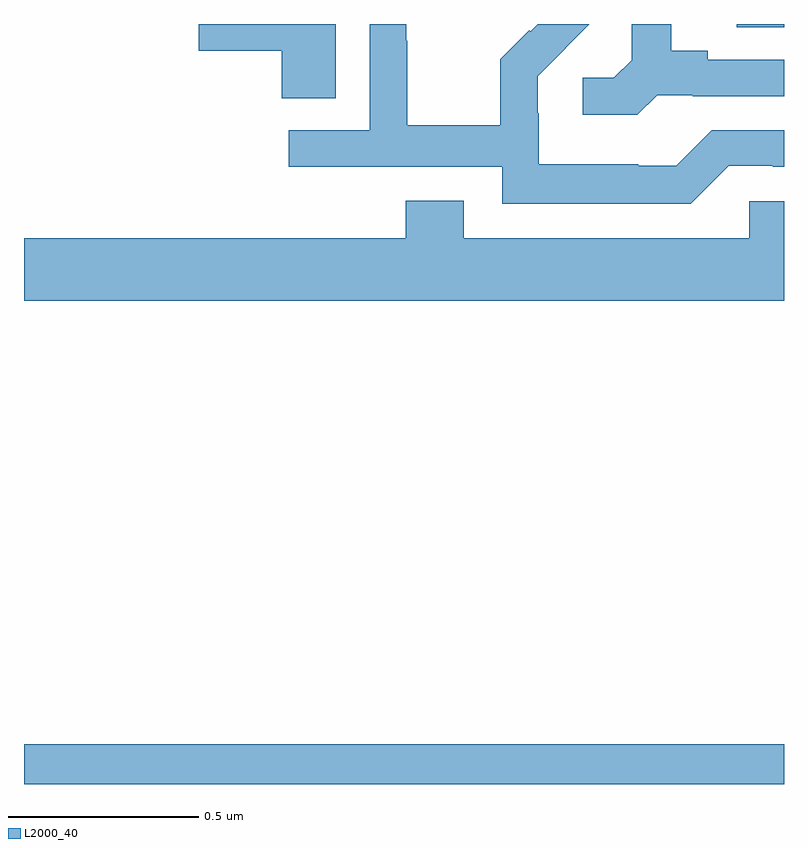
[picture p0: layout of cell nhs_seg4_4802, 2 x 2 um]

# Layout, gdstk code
import gdstk
lib = gdstk.Library(unit=1e-6, precision=1e-09)
def R(c, l, rs):  # rectangles x0, y0, x1, y1
    for r in rs: c.add(gdstk.rectangle(r[:2], r[2:], *l))
def P(c, l, *ps):  # polygons
    for p in ps: c.add(gdstk.Polygon(p, *l))
L2000_40 = (2000, 40)

nhs_seg4_4802 = lib.new_cell('nhs_seg4_4802')
R(nhs_seg4_4802, L2000_40, [(170,776.9,172,777.004), (171.875,778.891,172,778.9)])
P(nhs_seg4_4802, L2000_40, [(170.821,778.9),(170.46,778.9),(170.46,778.829),(170.678,778.829),(170.678,778.705),(170.821,778.705)],
  [(171.666,778.713),(171.76,778.713),(171.76,778.71),(172,778.71),(172,778.806),(171.799,778.806),(171.799,778.829),(171.703,778.829),(171.703,778.9),(171.599,778.9),(171.599,778.805),(171.552,778.758),(171.471,778.758),(171.471,778.661),(171.614,778.661)],
  [(171.855,778.527),(171.971,778.527),(171.971,778.524),(172,778.524),(172,778.62),(171.81,778.62),(171.717,778.527),(171.617,778.527),(171.617,778.531),(171.354,778.531),(171.354,778.665),(171.352,778.665),(171.352,778.762),(171.426,778.836),(171.425,778.837),(171.488,778.9),(171.352,778.9),(171.333,778.881),(171.33,778.884),(171.253,778.807),(171.253,778.633),(171.009,778.633),(171.009,778.856),(171.006,778.856),(171.006,778.9),(170.91,778.9),(170.91,778.62),(170.697,778.62),(170.697,778.524),(171.258,778.524),(171.258,778.427),(171.755,778.427)],
  [(172,778.434),(171.909,778.434),(171.909,778.336),(171.157,778.336),(171.157,778.435),(171.005,778.435),(171.005,778.336),(170,778.336),(170,778.172),(172,778.172)])

lib.write_gds('nhs_seg4_4802.gds')
